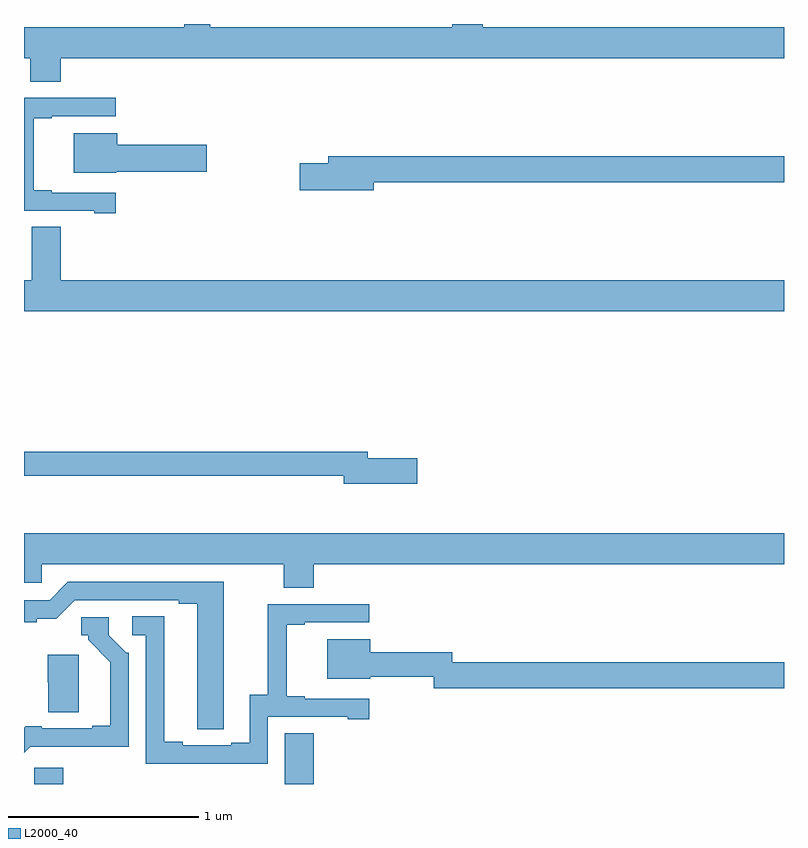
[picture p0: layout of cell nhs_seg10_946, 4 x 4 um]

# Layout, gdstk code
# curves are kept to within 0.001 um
import gdstk
lib = gdstk.Library(unit=1e-6, precision=1e-09)
def R(c, l, rs):  # rectangles x0, y0, x1, y1
    for r in rs: c.add(gdstk.rectangle(r[:2], r[2:], *l))
def P(c, l, *ps):  # polygons
    for p in ps: c.add(gdstk.Polygon(p, *l))
L2000_40 = (2000, 40)

nhs_seg10_946 = lib.new_cell('nhs_seg10_946')
R(nhs_seg10_946, L2000_40, [(159.054,1292.5,159.206,1292.586), (160.373,1292.5,160.526,1292.768)])
P(nhs_seg10_946, L2000_40, [(159.194,1296.32),(163,1296.32),(163,1296.484),(161.414,1296.484),(161.414,1296.5),(161.254,1296.5),(161.254,1296.484),(159.981,1296.484),(159.981,1296.5),(159.843,1296.5),(159.843,1296.484),(159,1296.484),(159,1296.32),(159.034,1296.32),(159.034,1296.196),(159.194,1296.196)],
  [(159.484,1295.613),(159.145,1295.613),(159.145,1295.626),(159.05,1295.626),(159.05,1296.003),(159.145,1296.003),(159.145,1296.015),(159.484,1296.015),(159.484,1296.111),(159,1296.111),(159,1295.517),(159.371,1295.517),(159.371,1295.505),(159.484,1295.505)],
  [(159.486,1295.723),(159.961,1295.723),(159.961,1295.865),(159.49,1295.865),(159.49,1295.926),(159.263,1295.926),(159.263,1295.717),(159.486,1295.717)],
  [(160.84,1295.668),(163,1295.668),(163,1295.804),(160.601,1295.804),(160.601,1295.768),(160.452,1295.768),(160.452,1295.626),(160.84,1295.626)],
  [(163,1295.152),(159.194,1295.152),(159.194,1295.432),(159.041,1295.432),(159.041,1295.152),(159,1295.152),(159,1294.988),(163,1294.988)],
  [(161.071,1294.214),(160.81,1294.214),(160.81,1294.25),(159,1294.25),(159,1294.122),(160.682,1294.122),(160.682,1294.079),(161.071,1294.079)],
  [(160.526,1293.656),(163,1293.656),(163,1293.82),(159,1293.82),(159,1293.558),(159.093,1293.558),(159.093,1293.656),(160.366,1293.656),(160.366,1293.532),(160.526,1293.532)],
  [(160.05,1292.896),(160.051,1293.564),(159.231,1293.564),(159.135,1293.468),(159,1293.468),(159,1293.352),(159.066,1293.352),(159.066,1293.371),(159.17,1293.371),(159.267,1293.468),(159.815,1293.468),(159.815,1293.448),(159.911,1293.448),(159.911,1292.788),(160.05,1292.788)],
  [(160.284,1292.853),(160.703,1292.853),(160.703,1292.841),(160.816,1292.841),(160.816,1292.949),(160.477,1292.949),(160.477,1292.962),(160.382,1292.962),(160.382,1293.339),(160.477,1293.339),(160.477,1293.351),(160.816,1293.351),(160.816,1293.447),(160.282,1293.447),(160.282,1292.969),(160.187,1292.969),(160.187,1292.718),(160.091,1292.718),(160.091,1292.703),(159.835,1292.703),(159.835,1292.723),(159.739,1292.723),(159.739,1293.383),(159.57,1293.383),(159.57,1293.282),(159.642,1293.282),(159.642,1292.607),(160.284,1292.607)],
  [(159.033,1292.697),(159.552,1292.696),(159.552,1293.192),(159.537,1293.192),(159.447,1293.282),(159.447,1293.378),(159.3,1293.378),(159.3,1293.282),(159.339,1293.282),(159.339,1293.259),(159.455,1293.142),(159.455,1292.806),(159.359,1292.806),(159.359,1292.793),(159.094,1292.793),(159.094,1292.804),(159.008,1292.804),(159,1292.796),(159,1292.664)],
  [(163,1293.14),(161.253,1293.14),(161.253,1293.193),(160.822,1293.193),(160.822,1293.262),(160.595,1293.262),(160.595,1293.053),(160.822,1293.053),(160.822,1293.064),(161.157,1293.064),(161.157,1293.004),(163,1293.004)],
  [(159.289,1293.181),(159.125,1293.181),(159.125,1293.036),(159.127,1293.036),(159.127,1292.878),(159.289,1292.878)])

lib.write_gds('nhs_seg10_946.gds')
